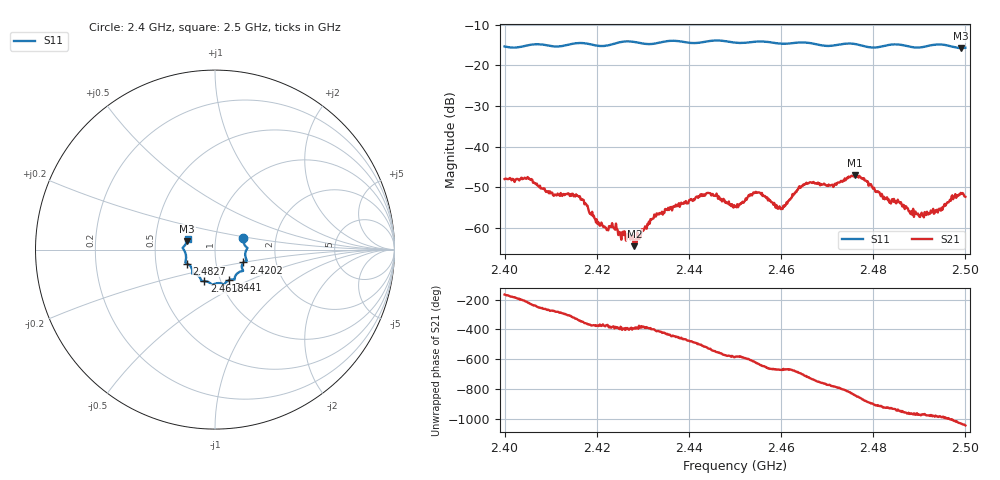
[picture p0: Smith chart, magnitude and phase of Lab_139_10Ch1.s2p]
# Hz S RI R 50
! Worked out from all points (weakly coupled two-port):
!   601 points, 2.4 GHz to 2.5 GHz, reference 50 ohm
!   highest |S21| = -47.07 dB at 2.476 GHz (marker M1); lowest = -64.5 dB at 2.4282 GHz (marker M2)
!   lowest |S11| = -15.8 dB at 2.499 GHz (marker M3), VSWR 1.39, Z = 36.4 + j3.48 ohm
!   |S11| at or under -10 dB: start of sweep to end of sweep
!   S12 and S22 are empty: the file has one direction only
!   S11 on the Smith chart (normalised r, x): 2.4 GHz: 1.36, +0.18; 2.4202 GHz: 1.36, -0.20; 2.441 GHz: 1.10, -0.39; 2.4618 GHz: 0.84, -0.30; 2.4827 GHz: 0.72, -0.12; 2.5 GHz: 0.73, +0.09
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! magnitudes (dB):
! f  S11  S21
! 2.4 GHz  -15.4  -48.0
! 2.4053 GHz  -15.0  -47.8
! 2.4108 GHz  -15.4  -51.8
! 2.4167 GHz  -14.5  -52.9
! 2.4202 GHz  -15.2  -59.0
! 2.4282 GHz  -14.3  -64.5
! 2.4333 GHz  -14.5  -56.5
! 2.441 GHz  -14.6  -52.9
! 2.4442 GHz  -14.1  -51.4
! 2.45 GHz  -14.4  -54.7
! 2.4545 GHz  -14.2  -51.1
! 2.4597 GHz  -14.7  -54.7
! 2.4618 GHz  -14.6  -53.0
! 2.4643 GHz  -14.4  -50.0
! 2.4667 GHz  -14.6  -48.9
! 2.471 GHz  -15.2  -49.4
! 2.476 GHz  -14.8  -47.1
! 2.4827 GHz  -15.2  -52.6
! 2.4833 GHz  -15.0  -53.0
! 2.4905 GHz  -15.6  -56.2
! 2.499 GHz  -15.8  -51.4
! 2.5 GHz  -15.7  -52.3
